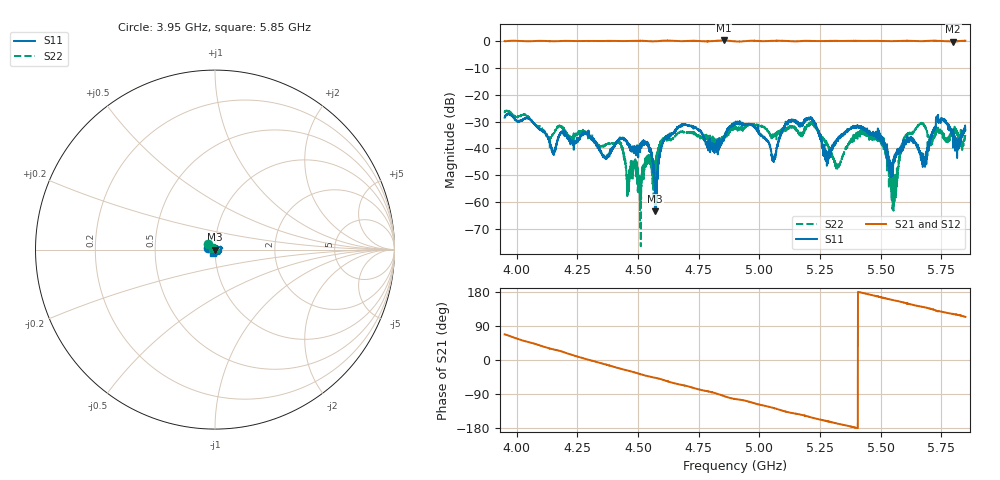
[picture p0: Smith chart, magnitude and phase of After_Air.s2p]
# GHZ S RI R 50.000000000000
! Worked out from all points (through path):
!   4501 points, 3.95 GHz to 5.85 GHz, reference 50 ohm
!   highest |S21| = 0.15 dB at 4.854 GHz (marker M1); lowest = -0.3 dB at 5.799 GHz (marker M2)
!   group delay of S21, straight-line fit = 453 ps
!   lowest |S11| = -63.4 dB at 4.571 GHz (marker M3), VSWR 1.00, Z = 50.1 + j0.0107 ohm
!   |S11| at or under -10 dB: start of sweep to end of sweep
!   |S22| runs from -76.3 to -25.8 dB; largest |S21 - S12| = 0.061
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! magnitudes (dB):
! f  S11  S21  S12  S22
! 3.95 GHz  -28.5  -0.1  -0.2  -26.3
! 4.151 GHz  -41.0  -0.1  -0.1  -34.7
! 4.267 GHz  -35.0  -0.1  -0.1  -34.1
! 4.424 GHz  -36.4  -0.1  -0.1  -37.8
! 4.505 GHz  -39.7  0.0  0.1  -53.8
! 4.535 GHz  -38.1  0.0  0.0  -46.2
! 4.571 GHz  -63.4  -0.1  -0.2  -49.0
! 4.584 GHz  -45.8  -0.1  -0.1  -40.8
! 4.677 GHz  -31.5  -0.1  -0.1  -33.9
! 4.854 GHz  -35.8  0.2  0.2  -36.4
! 4.9 GHz  -30.5  -0.2  -0.1  -32.0
! 5.059 GHz  -44.3  0.0  0.0  -35.4
! 5.115 GHz  -30.7  0.0  -0.1  -32.8
! 5.217 GHz  -29.2  0.0  0.0  -31.1
! 5.279 GHz  -46.5  0.0  -0.1  -38.1
! 5.324 GHz  -37.2  0.0  0.0  -46.2
! 5.41 GHz  -32.2  0.0  0.0  -34.6
! 5.534 GHz  -44.2  -0.1  -0.1  -44.5
! 5.555 GHz  -44.5  -0.1  -0.1  -60.5
! 5.608 GHz  -37.2  0.0  0.0  -35.0
! 5.799 GHz  -39.8  -0.3  -0.3  -32.5
! 5.85 GHz  -33.2  0.0  0.1  -35.0
